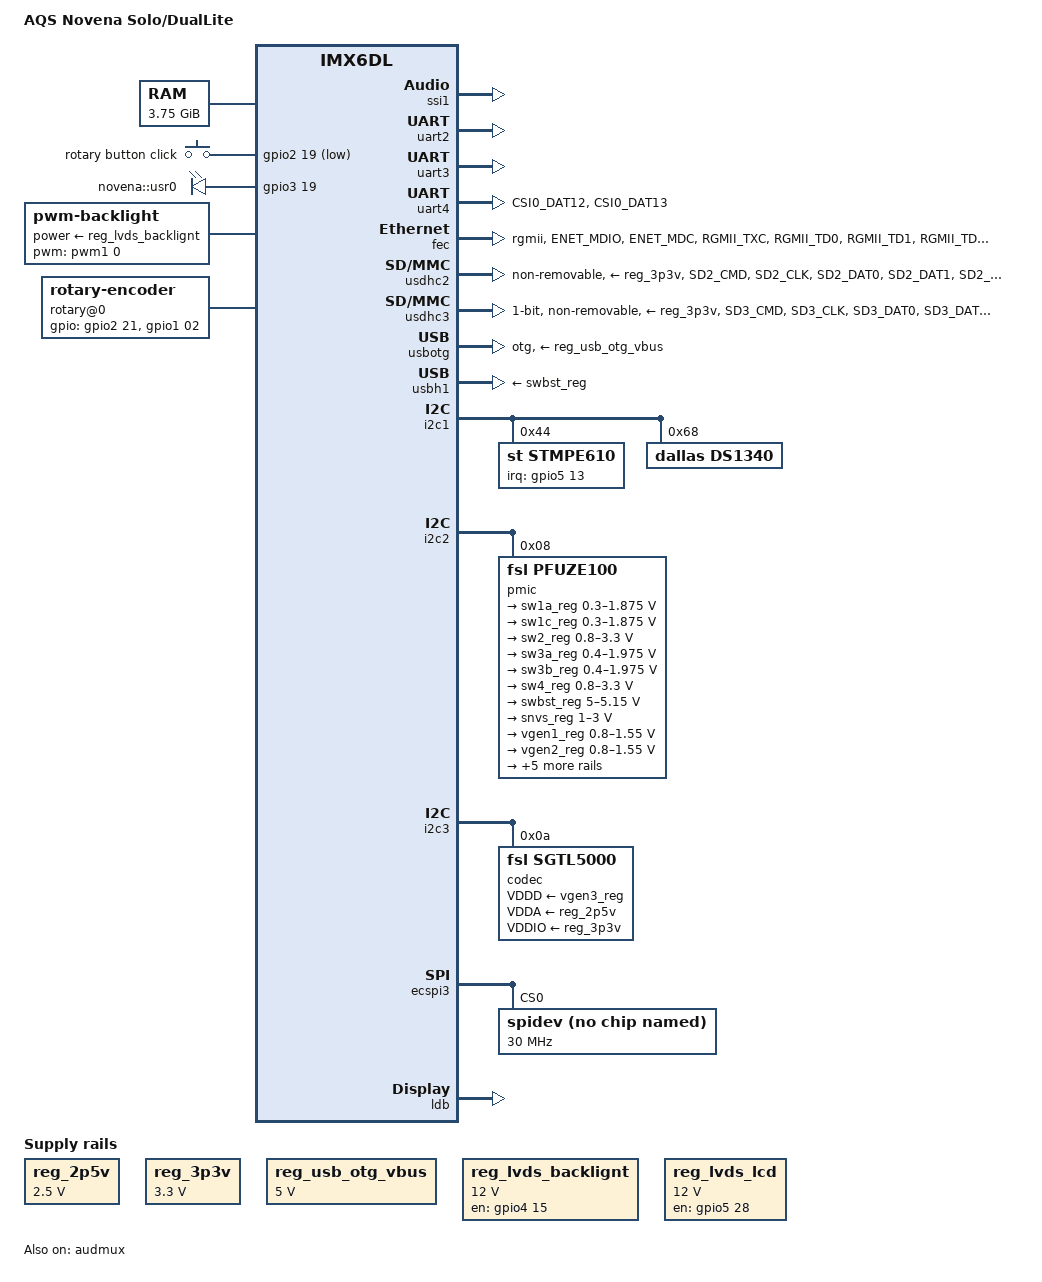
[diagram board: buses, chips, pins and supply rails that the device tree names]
/*
 * Copyright 2012 Freescale Semiconductor, Inc.
 * Copyright 2011 Linaro Ltd.
 *
 * The code contained herein is licensed under the GNU General Public
 * License. You may obtain a copy of the GNU General Public License
 * Version 2 or later at the following locations:
 *
 * http://www.opensource.org/licenses/gpl-license.html
 * http://www.gnu.org/copyleft/gpl.html
 */

/dts-v1/;

#include "imx6dl.dtsi"

/ {
	model = "AQS Novena Solo/DualLite";
	compatible = "aqs,novena-dl", "kosagi,novena-dl", "fsl,imx6dl";

	memory {
		reg = <0x10000000 0xefffffff>;
	};

	soc {
		aips-bus@0200000 {
			snvs@020cc000 {
				snvs-rtc-lp@34 {
					status = "disabled";
				};
			};
		};
	};

	regulators {
		compatible = "simple-bus";

		reg_2p5v: 2p5v {
			compatible = "regulator-fixed";
			regulator-name = "2P5V";
			regulator-min-microvolt = <2500000>;
			regulator-max-microvolt = <2500000>;
			regulator-always-on;
		};

		reg_3p3v: 3p3v {
			compatible = "regulator-fixed";
			regulator-name = "3P3V";
			regulator-min-microvolt = <3300000>;
			regulator-max-microvolt = <3300000>;
			regulator-always-on;
		};

		reg_usb_otg_vbus: usb_otg_vbus {
			compatible = "regulator-fixed";
			regulator-name = "usb_otg_vbus";
			regulator-min-microvolt = <5000000>;
			regulator-max-microvolt = <5000000>;
			enable-active-high;
		};
		reg_lvds_backlignt: lcd_backlight_regulator {
			compatible = "regulator-fixed";
			regulator-name = "lcd-backlight-power";
			regulator-min-microvolt = <12000000>;
			regulator-max-microvolt = <12000000>;
			gpio = <&gpio4 15 0>;
			enable-active-high;
			regulator-boot-on;
		};
		reg_lvds_lcd: lcd_pwr_ctrl {
			compatible = "regulator-fixed";
			regulator-name = "lcd-lvds-power";
			regulator-min-microvolt = <12000000>;
			regulator-max-microvolt = <12000000>;
			startup-delay-us = <50000>;
			gpio = <&gpio5 28 0>;
			enable-active-high;
			regulator-boot-on;
		};
	};

	gpio-keys {
		compatible = "gpio-keys";

		rotary_click@1 {
			label = "rotary button click";
			linux,code = <0x1c>;
			gpios = <&gpio2 19 1>;
			debounce-interval = <20>;
			gpio-key,wakeup = <1>;
		};
	};

	imx-drm {
		compatible = "fsl,imx-drm";
		crtcs = <&ipu1 0>, <&ipu1 1>;
		connectors = <&ldb>;
	};

	leds {
		compatible = "gpio-leds";
		heartbeat {
			label = "novena::usr0";
			gpios = <&gpio3 19 0>;
			linux,default-trigger = "heartbeat";
		};
	};

	backlight {
		compatible = "pwm-backlight";
		pwms = <&pwm1 0 10000000>;

		pinctrl-names = "default";
		pinctrl-0 = <&pinctrl_backlight_novena>;
		power-supply = <&reg_lvds_backlignt>;

		brightness-levels = <0 3 6 12 16 24 32 48 64 96 128 192 255>;
		default-brightness-level = <12>;
	};


	rotary@0 {
		compatible = "rotary-encoder";
		gpios = <&gpio2 21 0>, <&gpio1 02 0>;
		linux,axis = <8>; /* REL_WHEEL */
		rotary-encoder,relative-axis;
		rotary-encoder,half-period;
	};

	sound {
		compatible = "fsl,imx-audio-sgtl5000",
			     "fsl,imx-noventds-sgtl5000";
		model = "imx6dl-noventds-sgtl5000";
		ssi-controller = <&ssi1>;
		audio-codec = <&codec>;
		audio-routing =
			"MIC_IN", "Mic Jack",
			"Mic Jack", "Mic Bias",
			"Line out", "LINE_OUT";
		mux-int-port = <1>;
		mux-ext-port = <3>;
	};
};

&ssi1 {
	fsl,mode = "i2s-slave";
	status = "okay";
};

&uart2 {
	status = "okay";
	pinctrl-names = "default";
	pinctrl-0 = <&pinctrl_uart2_1>;
};

&uart3 {
	status = "okay";
	pinctrl-names = "default";
	pinctrl-0 = <&pinctrl_uart3_1>;
};

&uart4 {
	status = "okay";
	pinctrl-names = "default";
	pinctrl-0 = <&pinctrl_uart4_novena>;
};

&iomuxc {
	pinctrl-names = "default";
	pinctrl-0 = <&pinctrl_hog>;

	backlight {
		pinctrl_backlight_novena: backlight-pwm {
			fsl,pins = <
				MX6QDL_PAD_DISP0_DAT8__PWM1_OUT   0x1b0b0
				MX6QDL_PAD_CSI0_DAT10__GPIO5_IO28 0x80000000
				MX6QDL_PAD_KEY_ROW4__GPIO4_IO15   0x80000000
			>;
		};
	};

	enet {
		pinctrl_enet_novena: enetgrp-novena {
			fsl,pins = <
				MX6QDL_PAD_ENET_MDIO__ENET_MDIO       0x1b0b0
				MX6QDL_PAD_ENET_MDC__ENET_MDC         0x1b0b0
				MX6QDL_PAD_RGMII_TXC__RGMII_TXC       0x1b020
				MX6QDL_PAD_RGMII_TD0__RGMII_TD0       0x1b028
				MX6QDL_PAD_RGMII_TD1__RGMII_TD1       0x1b028
				MX6QDL_PAD_RGMII_TD2__RGMII_TD2       0x1b028
				MX6QDL_PAD_RGMII_TD3__RGMII_TD3       0x1b028
				MX6QDL_PAD_RGMII_TX_CTL__RGMII_TX_CTL 0x1b028
				MX6QDL_PAD_ENET_REF_CLK__ENET_TX_CLK  0x1b0b0
				MX6QDL_PAD_RGMII_RXC__RGMII_RXC       0x1b0b0
				MX6QDL_PAD_RGMII_RD0__RGMII_RD0       0x1b0b0
				MX6QDL_PAD_RGMII_RD1__RGMII_RD1       0x1b0b0
				MX6QDL_PAD_RGMII_RD2__RGMII_RD2       0x1b0b0
				MX6QDL_PAD_RGMII_RD3__RGMII_RD3       0x1b0b0
				MX6QDL_PAD_RGMII_RX_CTL__RGMII_RX_CTL 0x1b0b0
				MX6QDL_PAD_GPIO_16__ENET_REF_CLK      0x4001b0a8

				/* Ethernet reset */
				MX6QDL_PAD_EIM_D23__GPIO3_IO23  0x80000000
			>;
		};
	};

	hdmi {
		pinctrl_hdmi_novena: hdmi_novena {
			fsl,pins = <
				MX6QDL_PAD_KEY_ROW2__HDMI_TX_CEC_LINE 0x1f8b0
				MX6QDL_PAD_EIM_A24__GPIO5_IO04        0x80000000
			>;
		};
	};

	fpga {
		pinctrl_fpga_gpio: fpga_gpio {
			fsl,pins = <
				/* FPGA power */
				MX6QDL_PAD_SD1_DAT1__GPIO1_IO17 0x80000000

				/* Reset */
				MX6QDL_PAD_DISP0_DAT13__GPIO5_IO07 0x80000000

				/* FPGA GPIOs */
				MX6QDL_PAD_EIM_DA0__GPIO3_IO00	0x80000000
				MX6QDL_PAD_EIM_DA1__GPIO3_IO01	0x80000000
				MX6QDL_PAD_EIM_DA2__GPIO3_IO02	0x80000000
				MX6QDL_PAD_EIM_DA3__GPIO3_IO03	0x80000000
				MX6QDL_PAD_EIM_DA4__GPIO3_IO04	0x80000000
				MX6QDL_PAD_EIM_DA5__GPIO3_IO05  0x80000000
				MX6QDL_PAD_EIM_DA6__GPIO3_IO06  0x80000000
				MX6QDL_PAD_EIM_DA7__GPIO3_IO07  0x80000000
				MX6QDL_PAD_EIM_DA8__GPIO3_IO08	0x80000000
				MX6QDL_PAD_EIM_DA9__GPIO3_IO09	0x80000000
				MX6QDL_PAD_EIM_DA10__GPIO3_IO10	0x80000000
				MX6QDL_PAD_EIM_DA11__GPIO3_IO11	0x80000000
				MX6QDL_PAD_EIM_DA12__GPIO3_IO12	0x80000000
				MX6QDL_PAD_EIM_DA13__GPIO3_IO13	0x80000000
				MX6QDL_PAD_EIM_DA14__GPIO3_IO14	0x80000000
				MX6QDL_PAD_EIM_DA15__GPIO3_IO15	0x80000000
				MX6QDL_PAD_EIM_A16__GPIO2_IO22  0x80000000
				MX6QDL_PAD_EIM_A17__GPIO2_IO21  0x80000000
				MX6QDL_PAD_EIM_A18__GPIO2_IO20  0x80000000
				MX6QDL_PAD_EIM_CS0__GPIO2_IO23	0x80000000
				MX6QDL_PAD_EIM_CS1__GPIO2_IO24	0x80000000
				MX6QDL_PAD_EIM_LBA__GPIO2_IO27  0x80000000
				MX6QDL_PAD_EIM_OE__GPIO2_IO25   0x80000000
				MX6QDL_PAD_EIM_RW__GPIO2_IO26   0x80000000
				MX6QDL_PAD_EIM_WAIT__GPIO5_IO00 0x80000000
				MX6QDL_PAD_EIM_BCLK__GPIO6_IO31 0x80000000
			>;
		};

		pinctrl_fpga_eim: fpga_eim {
			fsl,pins = <
				/* FPGA power */
				MX6QDL_PAD_SD1_DAT1__GPIO1_IO17 0x80000000

				/* Reset */
				MX6QDL_PAD_DISP0_DAT13__GPIO5_IO07 0x80000000

				/* FPGA GPIOs */
				MX6QDL_PAD_EIM_DA0__EIM_AD00    0xb0f1
				MX6QDL_PAD_EIM_DA1__EIM_AD01    0xb0f1
				MX6QDL_PAD_EIM_DA2__EIM_AD02    0xb0f1
				MX6QDL_PAD_EIM_DA3__EIM_AD03    0xb0f1
				MX6QDL_PAD_EIM_DA4__EIM_AD04    0xb0f1
				MX6QDL_PAD_EIM_DA5__EIM_AD05    0xb0f1
				MX6QDL_PAD_EIM_DA6__EIM_AD06    0xb0f1
				MX6QDL_PAD_EIM_DA7__EIM_AD07    0xb0f1
				MX6QDL_PAD_EIM_DA8__EIM_AD08    0xb0f1
				MX6QDL_PAD_EIM_DA9__EIM_AD09    0xb0f1
				MX6QDL_PAD_EIM_DA10__EIM_AD10   0xb0f1
				MX6QDL_PAD_EIM_DA11__EIM_AD11   0xb0f1
				MX6QDL_PAD_EIM_DA12__EIM_AD12   0xb0f1
				MX6QDL_PAD_EIM_DA13__EIM_AD13   0xb0f1
				MX6QDL_PAD_EIM_DA14__EIM_AD14   0xb0f1
				MX6QDL_PAD_EIM_DA15__EIM_AD15   0xb0f1
				MX6QDL_PAD_EIM_A16__EIM_ADDR16  0xb0f1
				MX6QDL_PAD_EIM_A17__EIM_ADDR17  0xb0f1
				MX6QDL_PAD_EIM_A18__EIM_ADDR18  0xb0f1
				MX6QDL_PAD_EIM_CS0__EIM_CS0_B   0xb0f1
				MX6QDL_PAD_EIM_CS1__EIM_CS1_B   0xb0f1
				MX6QDL_PAD_EIM_LBA__EIM_LBA_B   0xb0f1
				MX6QDL_PAD_EIM_OE__EIM_OE_B     0xb0f1
				MX6QDL_PAD_EIM_RW__EIM_RW       0xb0f1
				MX6QDL_PAD_EIM_WAIT__EIM_WAIT_B 0xb0f1
				MX6QDL_PAD_EIM_BCLK__EIM_BCLK   0xb0f1
			>;
		};
	};

	hog {
		pinctrl_hog: hoggrp {
			fsl,pins = <
				/* Touchscreen interrupt */
				MX6QDL_PAD_DISP0_DAT19__GPIO5_IO13 0xf080

				/* GPIO LED */
				MX6QDL_PAD_EIM_D19__GPIO3_IO19  0x80000000

				/* User button */
				MX6QDL_PAD_KEY_COL4__GPIO4_IO14 0x80000000
			>;
		};
	};

	pcie {
		pinctrl_pcie_novena: pciegrp-novena {
			fsl,pins = <
				/* Wakeup */
				MX6QDL_PAD_EIM_D22__GPIO3_IO22  0x80000000

				/* Reset */
				MX6QDL_PAD_EIM_D29__GPIO3_IO29  0x80000000

				/* Power On */
				MX6QDL_PAD_GPIO_17__GPIO7_IO12  0x80000000

				/* Wifi kill */
				MX6QDL_PAD_EIM_A22__GPIO2_IO16  0x80000000
			>;
		};
	};

	sound {
		pinctrl_sound_novena: sound-novena {
			fsl,pins = <
				/* Audio power regulator */
				MX6QDL_PAD_DISP0_DAT23__GPIO5_IO17 0x80000000

				/* Headphone plug */
				MX6QDL_PAD_DISP0_DAT21__GPIO5_IO15 0x80000000

				/* Speaker amplifier mute */
				MX6QDL_PAD_KEY_ROW1__GPIO4_IO09    0x80000000

				/* Audio mclk */
				MX6QDL_PAD_GPIO_0__CCM_CLKO1       0x80000000
			>;
		};
	};

	uart4 {
		pinctrl_uart4_novena: uart4-novena {
			fsl,pins = <
				MX6QDL_PAD_CSI0_DAT12__UART4_TX_DATA 0x1b0b1
				MX6QDL_PAD_CSI0_DAT13__UART4_RX_DATA 0x1b0b1
			>;
		};
	};

	usdhc2 {
		pinctrl_usdhc2_novena: usdhc2-novena {
			fsl,pins = <
				MX6QDL_PAD_SD2_CMD__SD2_CMD    0x17059
				MX6QDL_PAD_SD2_CLK__SD2_CLK    0x10059
				MX6QDL_PAD_SD2_DAT0__SD2_DATA0 0x17059
				MX6QDL_PAD_SD2_DAT1__SD2_DATA1 0x17059
				MX6QDL_PAD_SD2_DAT2__SD2_DATA2 0x17059
				MX6QDL_PAD_SD2_DAT3__SD2_DATA3 0x17059
			>;
		};
	};
	usdhc3 {
		pinctrl_novena_usdhc3: novena-usdhc3 {
			fsl,pins = <
				MX6QDL_PAD_SD3_CMD__SD3_CMD	0x17059
				MX6QDL_PAD_SD3_CLK__SD3_CLK	0x10059
				MX6QDL_PAD_SD3_DAT0__SD3_DATA0	0x17059
				MX6QDL_PAD_SD3_DAT1__SD3_DATA1	0x17059
				MX6QDL_PAD_SD3_DAT2__SD3_DATA2	0x17059
				MX6QDL_PAD_SD3_DAT3__SD3_DATA3	0x17059
				MX6QDL_PAD_SD3_DAT4__SD3_DATA4	0x17059
				MX6QDL_PAD_SD3_DAT5__SD3_DATA5	0x17059
				MX6QDL_PAD_SD3_DAT6__SD3_DATA6	0x17059
				MX6QDL_PAD_SD3_DAT7__SD3_DATA7	0x17059
				MX6QDL_PAD_SD3_RST__GPIO7_IO08	0x80000000
			>;
		};

		pinctrl_novena_usdhc3_100mhz: novena-usdhc3-100mhz {
			fsl,pins = <
				MX6QDL_PAD_SD3_CMD__SD3_CMD	0x170b9
				MX6QDL_PAD_SD3_CLK__SD3_CLK	0x100b9
				MX6QDL_PAD_SD3_DAT0__SD3_DATA0	0x170b9
				MX6QDL_PAD_SD3_DAT1__SD3_DATA1	0x170b9
				MX6QDL_PAD_SD3_DAT2__SD3_DATA2	0x170b9
				MX6QDL_PAD_SD3_DAT3__SD3_DATA3	0x130b9
				MX6QDL_PAD_SD3_DAT4__SD3_DATA4	0x170b9
				MX6QDL_PAD_SD3_DAT5__SD3_DATA5	0x170b9
				MX6QDL_PAD_SD3_DAT6__SD3_DATA6	0x170b9
				MX6QDL_PAD_SD3_DAT7__SD3_DATA7	0x130b9
				MX6QDL_PAD_SD3_RST__GPIO7_IO08	0x80000000
			>;
		};

		pinctrl_novena_usdhc3_200mhz: novena-usdhc3-200mhz {
			fsl,pins = <
				MX6QDL_PAD_SD3_CMD__SD3_CMD	0x170f9
				MX6QDL_PAD_SD3_CLK__SD3_CLK	0x100f9
				MX6QDL_PAD_SD3_DAT0__SD3_DATA0	0x170f9
				MX6QDL_PAD_SD3_DAT1__SD3_DATA1	0x170f9
				MX6QDL_PAD_SD3_DAT2__SD3_DATA2	0x170f9
				MX6QDL_PAD_SD3_DAT3__SD3_DATA3	0x130f9
				MX6QDL_PAD_SD3_DAT4__SD3_DATA4	0x170f9
				MX6QDL_PAD_SD3_DAT5__SD3_DATA5	0x170f9
				MX6QDL_PAD_SD3_DAT6__SD3_DATA6	0x170f9
				MX6QDL_PAD_SD3_DAT7__SD3_DATA7	0x130f9
				MX6QDL_PAD_SD3_RST__GPIO7_IO08	0x80000000
			>;
		};
	};
};

&fec {
	status = "okay";
	pinctrl-names = "default";
	pinctrl-0 = <&pinctrl_enet_novena>;
	phy-mode = "rgmii";
	phy-reset-gpios = <&gpio3 23 0>;
	mac-address = [00 00 00 00 00 00];
	rxc-skew-ps = <3000>;
	rxdv-skew-ps = <0>;
	txc-skew-ps = <3000>;
	txen-skew-ps = <0>;
	rxd0-skew-ps = <0>;
	rxd1-skew-ps = <0>;
	rxd2-skew-ps = <0>;
	rxd3-skew-ps = <0>;
	txd0-skew-ps = <3000>;
	txd1-skew-ps = <3000>;
	txd2-skew-ps = <3000>;
	txd3-skew-ps = <3000>;
};

/* Removable MicroSD */
&usdhc2 {
	pinctrl-names = "default";
	pinctrl-0 = <&pinctrl_usdhc2_novena>;
	non-removable;
	vmmc-supply = <&reg_3p3v>;
	status = "okay";
};

/* iNAND */
&usdhc3 {
        pinctrl-names = "default", "state_100mhz", "state_200mhz";
        pinctrl-0 = <&pinctrl_novena_usdhc3>;
        pinctrl-1 = <&pinctrl_novena_usdhc3_100mhz>;
        pinctrl-2 = <&pinctrl_novena_usdhc3_200mhz>;
	non-removable;
	bus-width = <1>;
	card-reset-gpios = <&gpio7 8 1>;
	vmmc-supply = <&reg_3p3v>;
	status = "okay";
};

&usbotg {
	vbus-supply = <&reg_usb_otg_vbus>;
	dr_mode = "otg";
	pinctrl-names = "default";
	pinctrl-0 = <&pinctrl_usbotg_2>;
	disable-over-current;
	status = "okay";
};

&usbh1 {
	status = "okay";
	vbus-supply = <&swbst_reg>;
};

&audmux {
	status = "okay";
	pinctrl-names = "default";
	pinctrl-0 = <&pinctrl_audmux_2>;
};

&i2c1 {
	pinctrl-names = "default";
	pinctrl-0 = <&pinctrl_i2c1_1>;
	status = "okay";

	stmpe610@44 {
		status = "okay";
		compatible = "st,stmpe610";
		#address-cells = <1>;
		#size-cells = <0>;
		reg = <0x44>;
		irq-over-gpio;
		irq-gpios = <&gpio5 13 0>;
		irq-trigger = <0x1>;
		id = <0>;
		blocks = <0x5>;

		stmpe_touchscreen {
			compatible = "st,stmpe-ts";
			ts,sample-time = <4>;
			ts,mod-12b = <1>;
			ts,ref-sel = <0>;
			ts,adc-freq = <1>;
			ts,ave-ctrl = <1>;
			ts,touch-det-delay = <2>;
			ts,settling = <2>;
			ts,fraction-z = <7>;
			ts,i-drive = <1>;
		};
	};

	ds1340@68 {
		compatible = "dallas,ds1340";
		status = "okay";
		reg = <0x68>;
	};
};

&i2c2 {
	pinctrl-names = "default";
	pinctrl-0 = <&pinctrl_i2c2_1>;
	status = "okay";

	pmic: pfuze100@08 {
		compatible = "fsl,pfuze100";
		reg = <0x08>;
		status = "okay";

		regulators {
			sw1a_reg: sw1ab {
				regulator-min-microvolt = <300000>;
				regulator-max-microvolt = <1875000>;
				regulator-boot-on;
				regulator-always-on;
				regulator-ramp-delay = <6250>;
			};

			sw1c_reg: sw1c {
				regulator-min-microvolt = <300000>;
				regulator-max-microvolt = <1875000>;
				regulator-boot-on;
				regulator-always-on;
			};

			sw2_reg: sw2 {
				regulator-min-microvolt = <800000>;
				regulator-max-microvolt = <3300000>;
				regulator-boot-on;
				regulator-always-on;
			};

			sw3a_reg: sw3a {
				regulator-min-microvolt = <400000>;
				regulator-max-microvolt = <1975000>;
				regulator-boot-on;
				regulator-always-on;
			};

			sw3b_reg: sw3b {
				regulator-min-microvolt = <400000>;
				regulator-max-microvolt = <1975000>;
				regulator-boot-on;
				regulator-always-on;
			};

			sw4_reg: sw4 {
				regulator-min-microvolt = <800000>;
				regulator-max-microvolt = <3300000>;
			};

			swbst_reg: swbst {
				regulator-min-microvolt = <5000000>;
				regulator-max-microvolt = <5150000>;
				regulator-boot-on;
			};

			snvs_reg: vsnvs {
				regulator-min-microvolt = <1000000>;
				regulator-max-microvolt = <3000000>;
				regulator-boot-on;
				regulator-always-on;
			};

			vref_reg: vrefddr {
				regulator-boot-on;
				regulator-always-on;
			};

			vgen1_reg: vgen1 {
				regulator-min-microvolt = <800000>;
				regulator-max-microvolt = <1550000>;
			};

			vgen2_reg: vgen2 {
				regulator-min-microvolt = <800000>;
				regulator-max-microvolt = <1550000>;
			};

			vgen3_reg: vgen3 {
				regulator-min-microvolt = <1800000>;
				regulator-max-microvolt = <3300000>;
				regulator-boot-on;
				regulator-always-on;
			};

			vgen4_reg: vgen4 {
				regulator-min-microvolt = <1800000>;
				regulator-max-microvolt = <3300000>;
				regulator-always-on;
			};

			vgen5_reg: vgen5 {
				regulator-min-microvolt = <1800000>;
				regulator-max-microvolt = <3300000>;
				regulator-always-on;
			};

			vgen6_reg: vgen6 {
				regulator-min-microvolt = <1800000>;
				regulator-max-microvolt = <3300000>;
				regulator-always-on;
			};

			coin_reg: coin {
				regulator-min-microvolt = <3300000>;
				regulator-max-microvolt = <3300000>;
				regulator-always-on;
				regulator-boot-on;
			};
		};
	};
};

&i2c3 {
	pinctrl-names = "default";
	pinctrl-0 = <&pinctrl_i2c3_1>;
	status = "okay";

	codec: sgtl5000@0a {
		pinctrl-names = "default";
		pinctrl-0 = <&pinctrl_sound_novena>;
		compatible = "fsl,sgtl5000";
		reg = <0x0a>;
		clocks = <&clks 201>;
		VDDD-supply = <&vgen3_reg>;
		VDDA-supply = <&reg_2p5v>;
		VDDIO-supply = <&reg_3p3v>;
	};
};

&ecspi3 {
	pinctrl-names = "default";
	pinctrl-0 = <&pinctrl_ecspi3_1>;
	fsl,spi-num-chipselects = <3>;
	status = "okay";

	spidev@0 {
		compatible = "spidev";
		spi-max-frequency = <30000000>;
		reg = <0>;
	};
};

&ldb {
	status = "okay";

	lvds-channel@0 {
		fsl,data-mapping = "spwg";
		fsl,data-width = <24>;
		status = "okay";

		display-timings {
			native-mode = <&timing0>;
			timing0: 800x480p60 {
				clock-frequency = <29500000>;
				hactive = <800>;
				vactive = <480>;
				hback-porch = <100>;
				hfront-porch = <50>;
				hsync-len = <42>;
				vback-porch = <10>;
				vfront-porch = <5>;
				vsync-len = <5>;
				hsync-active = <1>;
				vsync-active = <1>;
			};
		};
	};
};
